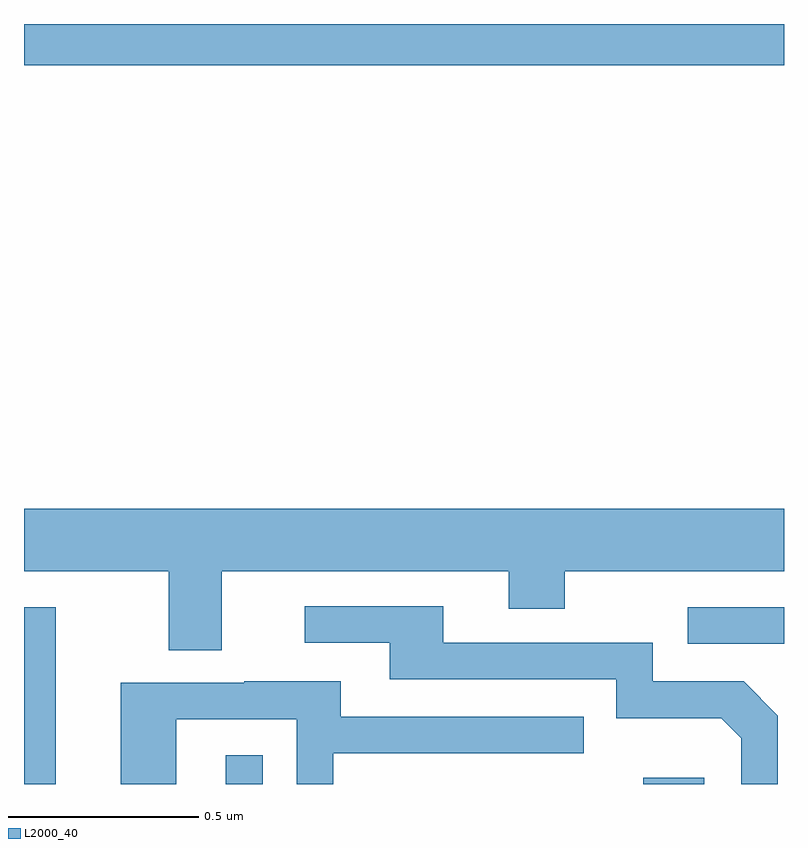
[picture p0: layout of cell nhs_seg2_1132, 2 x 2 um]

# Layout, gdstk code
import gdstk
lib = gdstk.Library(unit=1e-6, precision=1e-09)
def R(c, l, rs):  # rectangles x0, y0, x1, y1
    for r in rs: c.add(gdstk.rectangle(r[:2], r[2:], *l))
def P(c, l, *ps):  # polygons
    for p in ps: c.add(gdstk.Polygon(p, *l))
L2000_40 = (2000, 40)

nhs_seg2_1132 = lib.new_cell('nhs_seg2_1132')
R(nhs_seg2_1132, L2000_40, [(125,589.8,125.083,590.265), (125.531,589.8,125.628,589.876), (126.629,589.8,126.79,589.816), (126.747,590.169,127,590.265), (125,591.692,127,591.8)])
P(nhs_seg2_1132, L2000_40, [(125.521,590.36),(126.275,590.36),(126.275,590.261),(126.423,590.261),(126.423,590.36),(127,590.36),(127,590.524),(125,590.524),(125,590.36),(125.381,590.36),(125.381,590.152),(125.521,590.152)],
  [(126.984,589.98),(126.894,590.07),(126.654,590.07),(126.654,590.172),(126.103,590.172),(126.103,590.268),(125.739,590.268),(125.739,590.172),(125.963,590.172),(125.963,590.076),(126.558,590.076),(126.558,589.973),(126.835,589.973),(126.888,589.92),(126.888,589.8),(126.984,589.8)],
  [(125.4,589.971),(125.718,589.971),(125.718,589.8),(125.814,589.8),(125.814,589.881),(126.473,589.881),(126.473,589.977),(125.833,589.977),(125.833,590.071),(125.579,590.071),(125.579,590.067),(125.255,590.067),(125.255,589.8),(125.4,589.8)])

lib.write_gds('nhs_seg2_1132.gds')
